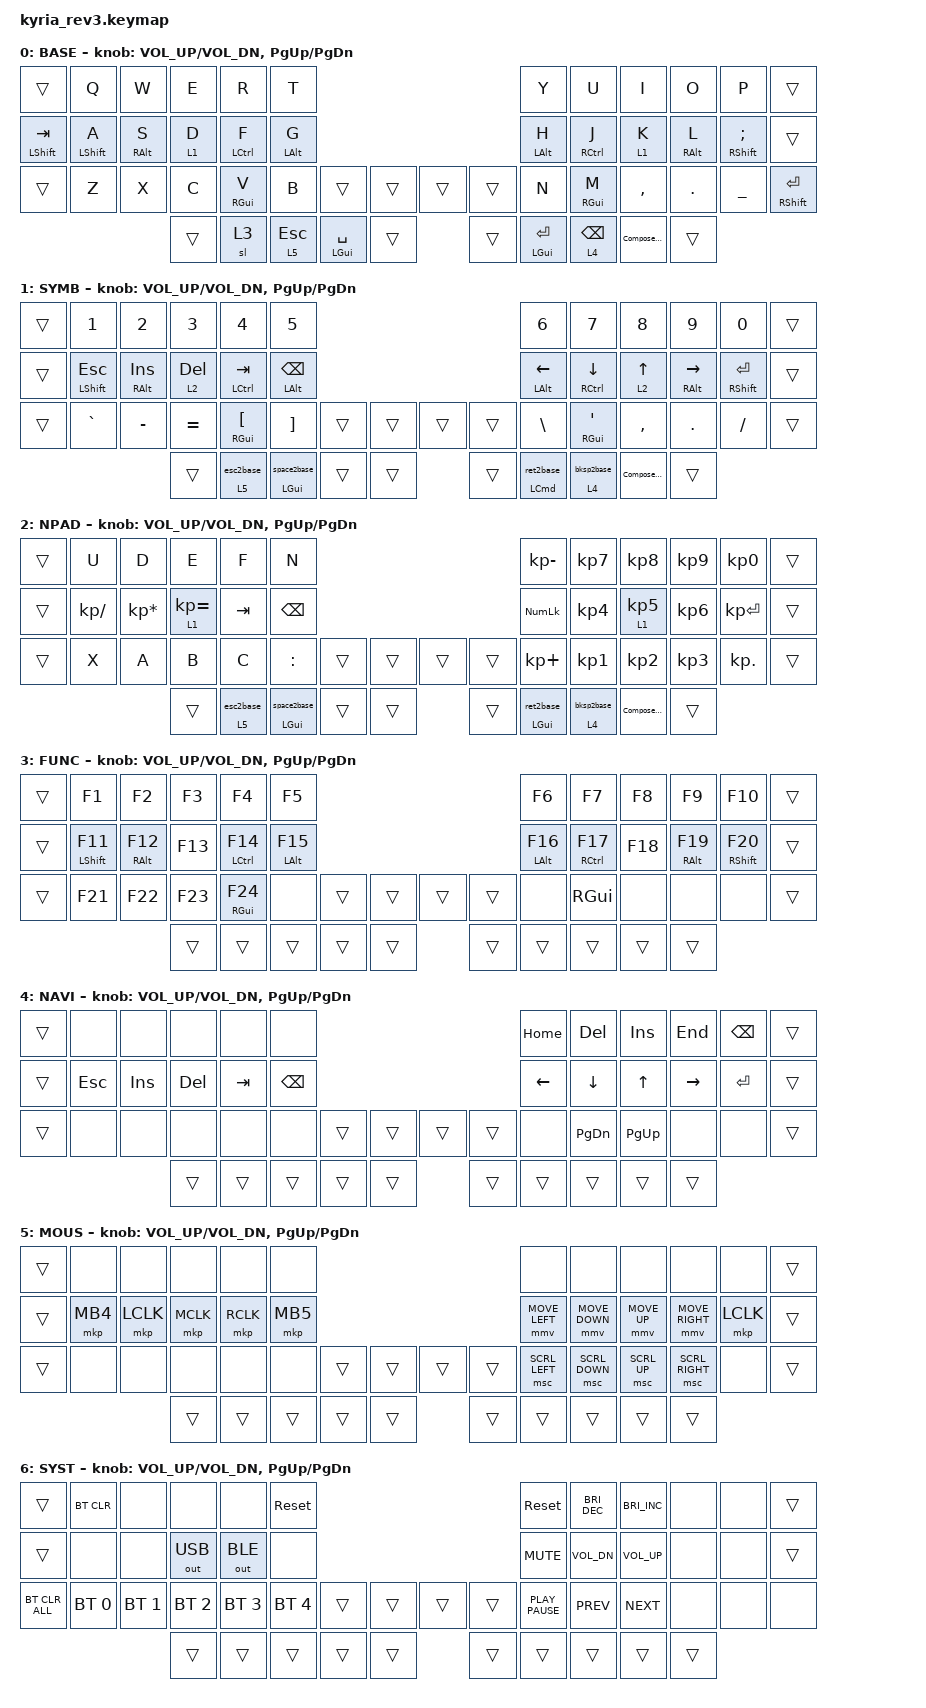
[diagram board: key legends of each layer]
/*
 * Copyright (c) 2023 The ZMK Contributors
 *
 * SPDX-License-Identifier: MIT
 */

#include <behaviors.dtsi>
#include <dt-bindings/zmk/bt.h>
#include <dt-bindings/zmk/keys.h>
#include <dt-bindings/zmk/outputs.h>
#include <dt-bindings/zmk/pointing.h>

#define BASE 0
#define SYMB 1
#define NPAD 2
#define FUNC 3
#define NAVI 4
#define MOUS 5
#define SYST 6

#define KEYS_L 1 2 3 4 5 13 14 15 16 17 25 26 27 28 29
#define KEYS_R 6 7 8 9 10 18 19 20 21 22 30 31 32 33 34
#define THUMBS 35 36 37 38 39 40 41 42 43 44 45 46

&mt {
    quick-tap-ms = <100>;
    global-quick-tap;
    flavor = "tap-preferred";
    tapping-term-ms = <170>;
};

/ {
    combos {
        compatible = "zmk,combos";

        combo_caps1 {
            timeout-ms = <100>;
            key-positions = <41 46>;
            bindings = <&kp CAPSLOCK>;
        };

        combo_caps2 {
            timeout-ms = <100>;
            key-positions = <28 39>;
            bindings = <&kp CAPSLOCK>;
        };

        combo_symbol {
            timeout-ms = <100>;
            key-positions = <42 45>;
            bindings = <&tog SYMB>;
        };

        combo_boot_left {
            timeout-ms = <100>;
            key-positions = <1 2 3 5>;
            bindings = <&bootloader>;
        };

        combo_boot_right {
            timeout-ms = <100>;
            key-positions = <6 8 9 10>;
            bindings = <&bootloader>;
        };

        combo_sys_left {
            timeout-ms = <100>;
            key-positions = <29 43>;
            bindings = <&mo SYST>;
        };

        combo_sys_right {
            timeout-ms = <100>;
            key-positions = <32 44>;
            bindings = <&mo SYST>;
        };
    };

    behaviors {
        hml: home_row_mod_left {
            compatible = "zmk,behavior-hold-tap";
            #binding-cells = <2>;
            flavor = "balanced";
            require-prior-idle-ms = <150>;
            tapping-term-ms = <280>;
            quick-tap-ms = <175>;
            bindings = <&kp>, <&kp>;
            hold-trigger-key-positions = <KEYS_R>;
            hold-trigger-on-release;
        };

        hmr: home_row_mod_right {
            compatible = "zmk,behavior-hold-tap";
            #binding-cells = <2>;
            flavor = "balanced";
            require-prior-idle-ms = <150>;
            tapping-term-ms = <280>;
            quick-tap-ms = <175>;
            bindings = <&kp>, <&kp>;
            hold-trigger-key-positions = <KEYS_L>;
            hold-trigger-on-release;
        };

        hml2: home_row_mod_left2 {
            compatible = "zmk,behavior-hold-tap";
            #binding-cells = <2>;
            flavor = "balanced";
            require-prior-idle-ms = <150>;
            tapping-term-ms = <280>;
            quick-tap-ms = <175>;
            bindings = <&mo>, <&kp>;
            hold-trigger-key-positions = <KEYS_R THUMBS>;
            hold-trigger-on-release;
        };

        hmr2: home_row_mod_right2 {
            compatible = "zmk,behavior-hold-tap";
            #binding-cells = <2>;
            flavor = "balanced";
            require-prior-idle-ms = <150>;
            tapping-term-ms = <500>;
            quick-tap-ms = <175>;
            bindings = <&mo>, <&kp>;
            hold-trigger-key-positions = <KEYS_L THUMBS>;
            hold-trigger-on-release;
        };

        Compose1ToNumpad: Compose1ToNumpad {
            compatible = "zmk,behavior-tap-dance";
            label = "Compose1ToNumpad";
            #binding-cells = <0>;
            bindings = <&kp K_APP>, <&tog 2>;
            tapping-term-ms = <500>;
        };

        Esc1ToMouse: Esc1ToMouse {
            compatible = "zmk,behavior-hold-tap";
            label = "ESCMOUSE";
            #binding-cells = <2>;
            bindings = <&mo>, <&esc2base>;
            tapping-term-ms = <230>;
        };

        Bspc1ToNavigation: Bspc1ToNavigation {
            compatible = "zmk,behavior-hold-tap";
            label = "BSPCNAVIGATION";
            bindings = <&mo>, <&bksp2base>;
            #binding-cells = <2>;
            tapping-term-ms = <230>;
        };

        Compose1ToBase: Compose1ToBase {
            compatible = "zmk,behavior-tap-dance";
            label = "COMPOSENUMPAD";
            #binding-cells = <0>;
            bindings = <&compose2base>, <&to 0>;
            tapping-term-ms = <500>;
        };

        Space1Lgui: Space1Lgui {
            compatible = "zmk,behavior-hold-tap";
            label = "SPACELGUI";
            bindings = <&kp>, <&space2base>;
            #binding-cells = <2>;
            tapping-term-ms = <230>;
        };

        Ret1Lgui: Ret1Lgui {
            compatible = "zmk,behavior-hold-tap";
            label = "RETLGUI";
            bindings = <&kp>, <&ret2base>;
            #binding-cells = <2>;
            tapping-term-ms = <230>;
        };
    };

    macros {
        esc2base: esc2base {
            compatible = "zmk,behavior-macro";
            #binding-cells = <0>;
            bindings = <&kp ESC &to 0>;
            label = "ESC2BASE";
        };

        space2base: space2base {
            compatible = "zmk,behavior-macro";
            #binding-cells = <0>;
            bindings = <&kp SPACE &to 0>;
            label = "SPACE2BASE";
        };

        ret2base: ret2base {
            compatible = "zmk,behavior-macro";
            #binding-cells = <0>;
            bindings = <&kp RET &to 0>;
            label = "RET2BASE";
        };

        bksp2base: bksp2base {
            compatible = "zmk,behavior-macro";
            #binding-cells = <0>;
            bindings = <&kp BACKSPACE &to 0>;
            label = "BKSP2BASE";
        };

        compose2base: compose2base {
            compatible = "zmk,behavior-macro";
            #binding-cells = <0>;
            bindings = <&kp C_MENU &to 0>;
            label = "COMPOSE2BASE";
        };
    };

    keymap {
        compatible = "zmk,keymap";

        base_layer {
            label = "BASE";
            bindings = <
            &trans         &kp Q          &kp W             &kp E      &kp R         &kp T                                                              &kp Y            &kp U              &kp I       &kp O             &kp P                &trans
            &hml LSHIFT TAB &hml LSHIFT A  &hml RIGHT_ALT S  &hml2 1 D  &hml LCTRL F  &hml LEFT_ALT G                                                    &hmr LEFT_ALT H  &hmr RCTRL J       &hmr2 1 K   &hmr RIGHT_ALT L  &hmr RSHIFT SEMICOLON &trans
            &trans         &kp Z          &kp X             &kp C      &hml RGUI V   &kp B              &trans        &trans        &trans        &trans &kp N            &hmr RGUI M        &kp COMMA   &kp DOT           &kp UNDERSCORE            &hmr RSHFT ENTER
                                                            &trans     &sl 3         &lt 5 ESC          &hml LGUI SPACE &trans      &trans        &hmr LGUI ENTER &hmr2 4 BACKSPACE &Compose1ToNumpad &trans
            >;
            sensor-bindings = <&inc_dec_kp C_VOL_UP C_VOL_DN &inc_dec_kp PG_UP PG_DN>;
        };

        symbols {
            label = "SYMB";
            bindings = <
            &trans  &kp NUMBER_1       &kp NUMBER_2        &kp NUMBER_3    &kp NUMBER_4            &kp N5                                                                     &kp NUMBER_6        &kp N7                  &kp N8          &kp N9                &kp N0         &trans
            &trans  &hml LSHFT ESCAPE  &hml RIGHT_ALT INS  &hml2 2 DELETE  &hml LCTRL TAB          &hml LEFT_ALT BACKSPACE                                                    &hmr LEFT_ALT LEFT  &hmr RCTRL DOWN         &hmr2 2 UP      &hmr RIGHT_ALT RIGHT  &hmr RSHFT ENTER &trans
            &trans  &kp GRAVE          &kp MINUS           &kp EQUAL       &hml RGUI LEFT_BRACKET  &kp RIGHT_BRACKET      &trans        &trans        &trans        &trans   &kp BACKSLASH       &hmr RGUI SINGLE_QUOTE  &kp COMMA       &kp PERIOD            &kp SLASH      &trans
                                                           &trans          &Esc1ToMouse 5 0        &Space1Lgui LGUI 0     &trans        &trans        &trans        &Ret1Lgui LCMD 0 &Bspc1ToNavigation 4 0 &Compose1ToBase &trans
            >;
            sensor-bindings = <&inc_dec_kp C_VOL_UP C_VOL_DN &inc_dec_kp PG_UP PG_DN>;
        };

        numpad {
            label = "NPAD";
            bindings = <
            &trans  &kp U          &kp D            &kp E             &kp F          &kp N                                                                &kp KP_SUBTRACT  &kp KP_NUMBER_7      &kp KP_NUMBER_8      &kp KP_NUMBER_9  &kp KP_N0     &trans
            &trans  &kp KP_DIVIDE  &kp KP_MULTIPLY  &hml2 1 KP_EQUAL  &kp TAB        &kp BACKSPACE                                                        &kp KP_NUMLOCK   &kp KP_NUMBER_4      &hml2 1 KP_NUMBER_5  &kp KP_NUMBER_6  &kp KP_ENTER  &trans
            &trans  &kp X          &kp A            &kp B             &kp C          &kp COLON            &trans        &trans        &trans        &trans &kp KP_PLUS      &kp KP_NUMBER_1      &kp KP_NUMBER_2      &kp KP_NUMBER_3  &kp KP_DOT    &trans
                                                    &trans            &Esc1ToMouse 5 0 &Space1Lgui LGUI 0 &trans        &trans        &trans        &Ret1Lgui LGUI 0 &Bspc1ToNavigation 4 0 &Compose1ToBase &trans
            >;
            sensor-bindings = <&inc_dec_kp C_VOL_UP C_VOL_DN &inc_dec_kp PG_UP PG_DN>;
        };

        func {
            label = "FUNC";
            bindings = <
            &trans  &kp F1           &kp F2              &kp F3   &kp F4          &kp F5                                                       &kp F6             &kp F7          &kp F8   &kp F9              &kp F10          &trans
            &trans  &hml LSHIFT F11  &hml RIGHT_ALT F12  &kp F13  &hml LCTRL F14  &hml LEFT_ALT F15                                            &hmr LEFT_ALT F16  &hmr RCTRL F17  &kp F18  &hmr RIGHT_ALT F19  &hmr RSHIFT F20  &trans
            &trans  &kp F21          &kp F22             &kp F23  &hml RGUI F24   &none              &trans &trans        &trans        &trans &none              &kp RGUI        &none    &none               &none            &trans
                                                         &trans   &trans          &trans             &trans &trans        &trans        &trans &trans             &trans          &trans
            >;
            sensor-bindings = <&inc_dec_kp C_VOL_UP C_VOL_DN &inc_dec_kp PG_UP PG_DN>;
        };

        navigation {
            label = "NAVI";
            bindings = <
            &trans  &none       &none    &none    &none    &none                                                    &kp HOME  &kp DEL        &kp INS    &kp END    &kp BACKSPACE &trans
            &trans  &kp ESCAPE  &kp INS  &kp DEL  &kp TAB  &kp BACKSPACE                                            &kp LEFT  &kp DOWN       &kp UP     &kp RIGHT  &kp ENTER     &trans
            &trans  &none       &none    &none    &none    &none          &trans &trans        &trans        &trans &none     &kp PAGE_DOWN  &kp PG_UP  &none      &none         &trans
                                         &trans   &trans   &trans         &trans &trans        &trans        &trans &trans    &trans         &trans
            >;
            sensor-bindings = <&inc_dec_kp C_VOL_UP C_VOL_DN &inc_dec_kp PG_UP PG_DN>;
        };

        mouse {
            label = "MOUS";
            bindings = <
            &trans  &none     &none      &none      &none      &none                                                &none           &none           &none         &none            &none      &trans
            &trans  &mkp MB4  &mkp LCLK  &mkp MCLK  &mkp RCLK  &mkp MB5                                             &mmv MOVE_LEFT  &mmv MOVE_DOWN  &mmv MOVE_UP  &mmv MOVE_RIGHT  &mkp LCLK  &trans
            &trans  &none     &none      &none      &none      &none      &trans &trans        &trans        &trans &msc SCRL_LEFT  &msc SCRL_DOWN  &msc SCRL_UP  &msc SCRL_RIGHT  &none      &trans
                                         &trans     &trans     &trans     &trans &trans        &trans        &trans &trans          &trans          &trans
            >;
            sensor-bindings = <&inc_dec_kp C_VOL_UP C_VOL_DN &inc_dec_kp PG_UP PG_DN>;
        };

        system {
            label = "SYST";
            bindings = <
            &trans          &bt BT_CLR    &none         &none         &none         &sys_reset                                                       &sys_reset        &kp C_BRIGHTNESS_DEC  &kp C_BRIGHTNESS_INC  &none  &none  &trans
            &trans          &none         &none         &out OUT_USB  &out OUT_BLE  &none                                                            &kp C_MUTE        &kp C_VOL_DN          &kp C_VOL_UP          &none  &none  &trans
            &bt BT_CLR_ALL  &bt BT_SEL 0  &bt BT_SEL 1  &bt BT_SEL 2  &bt BT_SEL 3  &bt BT_SEL 4 &trans &trans        &trans        &trans           &kp K_PLAY_PAUSE  &kp K_PREV            &kp C_NEXT            &none  &none  &none
                                                        &trans        &trans        &trans       &trans &trans        &trans        &trans           &trans            &trans                &trans
            >;
            sensor-bindings = <&inc_dec_kp C_VOL_UP C_VOL_DN &inc_dec_kp PG_UP PG_DN>;
        };
    };
};
